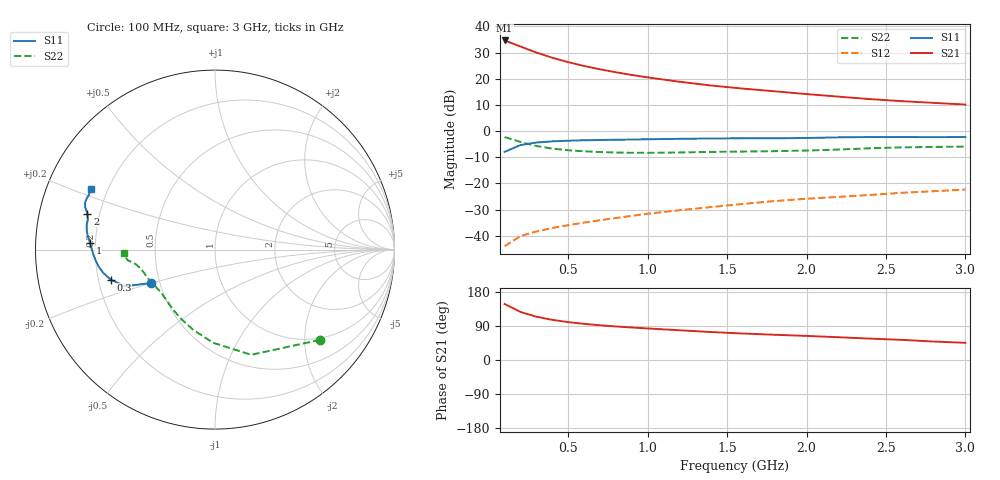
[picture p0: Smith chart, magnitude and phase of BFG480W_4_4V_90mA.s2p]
! Filename: 4_490BFG480.001
! Title: BFG480W
! Bias: Vce=4.4V; Ic=90mA
! Company: Philips Semiconductors NL
! User: Quality&Reliability T&D
! Measure time: 10 Nov 1999 / 12:06:50
#  MHz  S  MA  R 50
! Freq  S11  S21  S12  S22  :
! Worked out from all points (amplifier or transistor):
!   20 points, 100 MHz to 3 GHz, reference 50 ohm
!   highest |S21| = 34.6 dB at 100 MHz (marker M1)
!   |S21| within 3 dB of that: start of sweep to 229.9 MHz
!   unconditionally stable (mu >= 1): 764.2 MHz to end of sweep
!   at 400 MHz: K = 0.78, MSG = 32.5 dB, |S12| = -37.0 dB
!   at 1.2 GHz: K = 1.07, MAG = 22.9 dB, |S12| = -30.2 dB
!   at 3 GHz: K = 1.04, MAG = 14.9 dB, |S12| = -22.3 dB
!   S11 on the Smith chart (normalised r, x): 100 MHz: 0.45, -0.20; 300 MHz: 0.25, -0.13; 1 GHz: 0.18, +0.03; 2 GHz: 0.15, +0.14; 3 GHz: 0.14, +0.23
100  0.4012 -152.4  53.91 147.8  0.006334 68.6  0.7716 -40.7
200  0.5411 -157.8  41.32 126.7  0.009876 59.9  0.6199 -71.0
300  0.6051 -164.0  31.68 114.2  0.01209 58.2  0.5191 -91.2
400  0.6372 -168.4  25.19 106.0  0.0141 59.5  0.4631 -105.3
500  0.6558 -171.9  20.76 100.0  0.01596 61.8  0.4308 -115.5
600  0.6677 -174.7  17.54 95.4  0.01787 63.5  0.4113 -123.2
700  0.6762 -177.1  15.16 91.7  0.01982 65.8  0.3984 -129.2
800  0.683 -179.2  13.3 88.5  0.02186 67.7  0.3899 -134.3
900  0.6902 178.8  11.82 85.8  0.02401 69.5  0.3854 -138.6
1000  0.6978 177.0  10.63 83.2  0.02639 70.6  0.3845 -142.5
1200  0.7124 173.9  8.773 78.5  0.03078 72.5  0.3906 -148.8
1400  0.7229 171.5  7.429 73.8  0.03538 73.6  0.4004 -153.5
1600  0.728 169.1  6.48 69.9  0.04061 74.5  0.4066 -157.1
1800  0.7282 166.5  5.76 66.5  0.04614 75.2  0.4138 -160.8
2000  0.7388 164.2  5.1 63.6  0.05101 75.8  0.4253 -165.2
2200  0.7588 162.1  4.553 60.1  0.05533 75.9  0.4444 -169.0
2400  0.7697 160.4  4.083 56.4  0.06026 75.4  0.4691 -171.5
2600  0.77 158.7  3.733 53.1  0.06631 74.8  0.4886 -172.9
2800  0.7656 156.5  3.463 48.7  0.07106 73.4  0.498 -174.8
3000  0.7705 153.8  3.216 45.3  0.07645 72.7  0.5056 -177.7
